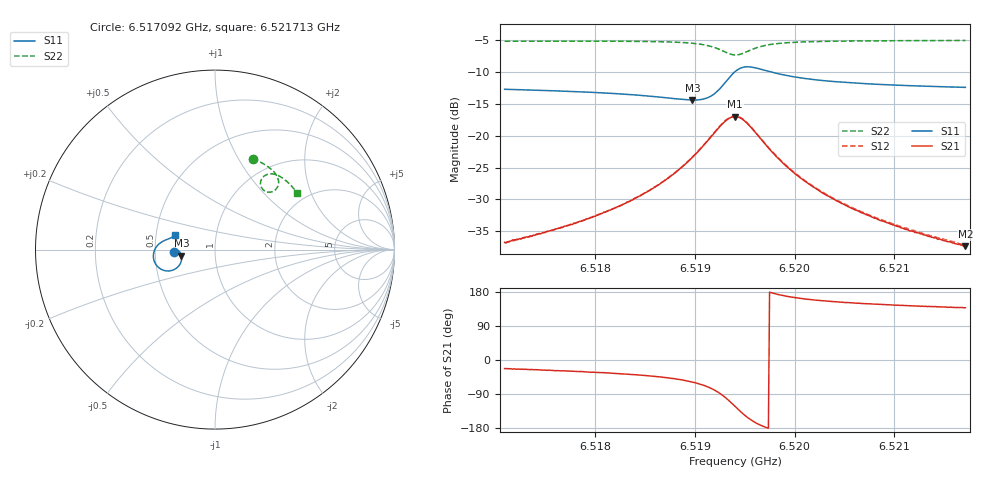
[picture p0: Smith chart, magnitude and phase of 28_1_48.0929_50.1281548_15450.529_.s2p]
#  HZ  S  RI  R  50.00
! Rohde & Schwarz Vector Network Analyzer
! Rohde-Schwarz,ZNB20-2Port,1311601062101988,3.16
! Created: UTC 12/23/2023, 3:37:22 AM
! freq[Hz]  re:S11  im:S11  re:S21  im:S21  re:S12  im:S12  re:S22  im:S22
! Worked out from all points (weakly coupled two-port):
!   401 points, 6.517092 GHz to 6.521713 GHz, reference 50 ohm
!   highest |S21| = -17.01 dB at 6.519403 GHz (marker M1); lowest = -37.3 dB at 6.521713 GHz (marker M2)
!   lowest |S11| = -14.4 dB at 6.518975 GHz (marker M3), VSWR 1.47, Z = 34.2 - j2.35 ohm
!   |S11| at or under -10 dB: start of sweep to 6.519402 GHz; 6.519757 GHz to end of sweep
!   |S22| runs from -7.4 to -5.1 dB; largest |S21 - S12| = 0.0042
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6.5170924e9  -0.2301 -0.0153  0.0134 -0.00562  0.0136 -0.00513  0.2105 0.5068
6.5175545e9  -0.2247 -0.00868  0.016 -0.00827  0.0162 -0.0077  0.2445 0.4915
6.5178664e9  -0.2198 -0.00539  0.0185 -0.0108  0.0189 -0.0104  0.2677 0.4793
6.5182591e9  -0.2119 -0.00375  0.0229 -0.0169  0.0234 -0.0161  0.2971 0.4606
6.5186403e9  -0.2002 -0.00897  0.0295 -0.0289  0.0305 -0.0281  0.3267 0.4352
6.5188136e9  -0.1934 -0.0171  0.0334 -0.0398  0.0348 -0.0389  0.3402 0.4181
6.5189753e9  -0.1869 -0.0331  0.0356 -0.0572  0.0376 -0.0565  0.3511 0.3958
6.5190908e9  -0.1861 -0.0538  0.0329 -0.0776  0.0355 -0.0771  0.3543 0.373
6.5191717e9  -0.1919 -0.0751  0.0241 -0.097  0.0273 -0.0968  0.3504 0.3527
6.5192294e9  -0.2038 -0.0931  0.0108 -0.1122  0.0144 -0.1128  0.341 0.3373
6.5193103e9  -0.2376 -0.1153  -0.0226 -0.1289  -0.0191 -0.1306  0.3146 0.3211
6.5194027e9  -0.2965 -0.1112  -0.0752 -0.1193  -0.0725 -0.1224  0.2735 0.329
6.5194489e9  -0.3219 -0.0922  -0.0959 -0.0997  -0.0938 -0.1033  0.2592 0.3456
6.5195067e9  -0.34 -0.06  -0.1081 -0.0698  -0.1071 -0.0734  0.2533 0.3707
6.5196106e9  -0.339 -0.00878  -0.1016 -0.026  -0.1018 -0.029  0.2681 0.4046
6.5197146e9  -0.3221 0.0211  -0.0839 -0.00308  -0.0846 -0.00545  0.2914 0.4189
6.5199572e9  -0.2881 0.0476  -0.0525 0.0126  -0.0534 0.0113  0.3338 0.4192
6.5201766e9  -0.2698 0.0555  -0.0373 0.0145  -0.0384 0.0135  0.3593 0.4089
6.5205578e9  -0.2516 0.0627  -0.0239 0.0132  -0.0246 0.0128  0.3913 0.3872
6.5209506e9  -0.2402 0.0684  -0.0169 0.0116  -0.0176 0.0112  0.4168 0.3638
6.5213087e9  -0.2324 0.0733  -0.0131 0.0103  -0.0135 0.0101  0.4368 0.3421
6.521713e9  -0.2254 0.0787  -0.0101 0.0091  -0.0105 0.00908  0.4572 0.317
